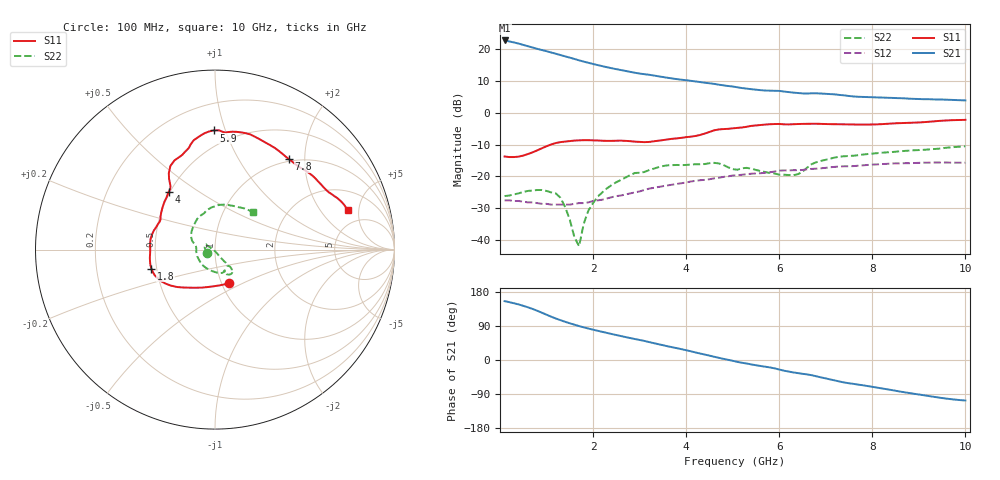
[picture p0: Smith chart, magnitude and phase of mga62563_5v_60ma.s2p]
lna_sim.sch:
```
<Qucs Schematic 0.0.10>
<Properties>
  <View=-571,-167,1072,689,0.652284,0,0>
  <Grid=10,10,1>
  <DataSet=lna_sim.dat>
  <DataDisplay=lna_sim.dpl>
  <OpenDisplay=0>
  <showFrame=0>
  <FrameText0=Title>
  <FrameText1=Drawn By:>
  <FrameText2=Date:>
  <FrameText3=Revision:>
</Properties>
<Symbol>
</Symbol>
<Components>
  <Pac P1 1 50 260 18 -26 0 1 "1" 1 "50 Ohm" 1 "0 dBm" 0 "1 GHz" 0 "26.85" 0>
  <GND * 1 50 320 0 0 0 0>
  <L L3 1 320 180 -26 10 0 0 "4.3nH" 1 "" 0>
  <C C1 1 190 180 -26 17 0 0 "3300 pF" 1 "" 0>
  <Eqn Eqn1 1 160 340 -31 19 0 0 "S11_db=dB(S[1,1])" 1 "SWR_IN=(1+mag(S[1,1]))/(1-mag(S[1,1]))" 1 "SWR_OUT=(1+mag(S[2,2]))/(1-mag(S[2,2]))" 1 "S22_db=dB(S[2,2])" 1 "S12_db=dB(S[1,2])" 1 "S21_db=dB(S[2,1])" 1 "S11_phase=180*angle(S[1,1])/3.14159" 1 "S22_phase=180*angle(S[2,2])/3.14159" 1 "S12_phase=180*angle(S[1,2])/3.14159" 1 "S21_phase=180*angle(S[2,1])/3.14159" 1 "yes" 0>
  <L L4 1 610 250 10 -26 0 1 "180 nH" 1 "" 0>
  <GND * 1 510 260 0 0 0 0>
  <GND * 1 610 340 0 0 0 0>
  <C C2 1 680 180 -26 17 0 0 "100 pF" 1 "" 0>
  <.SP SP1 1 490 390 0 82 0 0 "lin" 1 ".05GHz" 1 "1GHz" 1 "100" 1 "no" 0 "1" 0 "2" 0 "no" 0 "no" 0>
  <SPfile X1 1 510 180 -26 -73 0 0 "/home/matt/usrp-hw/wbx/mga62563_5v_60ma.s2p" 1 "rectangular" 0 "linear" 0 "open" 0 "2" 0>
  <GND * 1 760 340 0 0 0 0>
  <C C3 1 900 260 17 -26 0 1 "1.1 pF" 1 "" 0>
  <Pac P2 1 960 270 18 -26 0 1 "2" 1 "200 Ohm" 1 "0 dBm" 0 "1 GHz" 0 "26.85" 0>
  <GND * 1 960 360 0 0 0 0>
  <R R2 0 760 240 15 -26 0 1 "66.7 Ohm" 1 "26.85" 0 "0.0" 0 "0.0" 0 "26.85" 0 "US" 0>
  <R R1 0 820 180 -26 15 0 0 "0 Ohm" 1 "26.85" 0 "0.0" 0 "0.0" 0 "26.85" 0 "US" 0>
  <GND * 1 780 560 0 0 0 0>
  <Tr Tr1 1 780 450 -29 38 0 0 ".5" 1>
</Components>
<Wires>
  <540 180 610 180 "" 0 0 0 "">
  <50 290 50 320 "" 0 0 0 "">
  <350 180 480 180 "" 0 0 0 "">
  <50 180 50 230 "" 0 0 0 "">
  <50 180 160 180 "" 0 0 0 "">
  <220 180 290 180 "" 0 0 0 "">
  <610 180 610 220 "" 0 0 0 "">
  <510 210 510 260 "" 0 0 0 "">
  <610 280 610 340 "" 0 0 0 "">
  <610 180 650 180 "" 0 0 0 "">
  <710 180 720 180 "" 0 0 0 "">
  <760 180 790 180 "" 0 0 0 "">
  <760 180 760 210 "" 0 0 0 "">
  <760 270 760 340 "" 0 0 0 "">
  <960 180 960 220 "" 0 0 0 "">
  <850 180 870 180 "" 0 0 0 "">
  <960 300 960 310 "" 0 0 0 "">
  <960 220 960 240 "" 0 0 0 "">
  <900 220 960 220 "" 0 0 0 "">
  <900 290 900 310 "" 0 0 0 "">
  <960 310 960 360 "" 0 0 0 "">
  <900 310 960 310 "" 0 0 0 "">
  <900 220 900 230 "" 0 0 0 "">
  <720 180 760 180 "" 0 0 0 "">
  <720 180 720 420 "" 0 0 0 "">
  <720 420 750 420 "" 0 0 0 "">
  <810 420 870 420 "" 0 0 0 "">
  <870 180 960 180 "" 0 0 0 "">
  <870 180 870 420 "" 0 0 0 "">
  <720 560 780 560 "" 0 0 0 "">
  <720 480 720 560 "" 0 0 0 "">
  <720 480 750 480 "" 0 0 0 "">
  <810 480 830 480 "" 0 0 0 "">
  <830 480 830 560 "" 0 0 0 "">
  <780 560 830 560 "" 0 0 0 "">
</Wires>
<Diagrams>
  <Rect -451 553 467 340 1 #c0c0c0 1 00 1 -1 0.2 1 1 -1 0.5 1 1 -1 0.5 1 315 0 225 "" "" "">
	<"SWR_IN" #0000ff 0 3 0 0 0>
	<"SWR_OUT" #ff0000 0 3 0 0 0>
  </Rect>
  <Rect -454 191 479 281 1 #c0c0c0 1 00 1 5e+07 1e+08 1e+09 1 -20.7006 2 -9.16446 1 -1 0.5 1 315 0 225 "" "" "">
	<"S11_db" #0000ff 0 3 0 0 0>
	<"S22_db" #ff0000 0 3 0 0 0>
  </Rect>
  <Smith 660 110 200 200 1 #c0c0c0 1 00 1 0 1 1 1 0 4 1 1 0 1 1 315 0 225 "" "" "">
	<"S[1,1]" #0000ff 0 3 0 0 0>
	<"S[2,2]" #ff0000 0 3 0 0 0>
  </Smith>
  <Rect 72 117 487 234 1 #c0c0c0 1 00 1 -1 0.5 1 1 -1 0.5 1 1 -1 0.5 1 315 0 225 "" "" "">
	<"S21_db" #0000ff 0 3 0 0 0>
  </Rect>
</Diagrams>
<Paintings>
</Paintings>
```
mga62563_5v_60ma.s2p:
!MGA-62563
!s-parameters at Vd=5V, Id=60mA. Last updated 24/09/03 AR.
# GHZ S MA R 50
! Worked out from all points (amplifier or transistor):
!   100 points, 100 MHz to 10 GHz, reference 50 ohm
!   highest |S21| = 22.7 dB at 100 MHz (marker M1)
!   |S21| within 3 dB of that: start of sweep to 899.2 MHz
!   unconditionally stable (mu >= 1): start of sweep to 9.453 GHz
!   at 1.7 GHz: K = 1.83, MAG = 17.2 dB, |S12| = -28.4 dB
!   at 5.1 GHz: K = 1.33, MAG = 10.4 dB, |S12| = -19.7 dB
!   at 10 GHz: K = 0.97, MSG = 9.8 dB, |S12| = -15.7 dB
!   S11 on the Smith chart (normalised r, x): 100 MHz: 1.09, -0.43; 1.8 GHz: 0.47, -0.12; 4 GHz: 0.49, +0.38; 5.9 GHz: 0.38, +0.91; 7.8 GHz: 0.96, +1.68; 10 GHz: 3.45, +3.79
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0.1  0.205 -67.1  13.65 155.3  0.042 1.9  0.049 -153.8
1  0.297 -135.4  9.26 119.6  0.037 3.9  0.059 149.1
1.4  0.352 -151.4  7.68 100.9  0.036 10.7  0.033 154.3
1.7  0.368 -160.1  6.65 89.5  0.038 16.7  0.008 -95.9
1.8  0.37 -163.3  6.35 86.2  0.038 18.5  0.018 -66.4
2.7  0.361 166.7  4.53 60.5  0.052 27.2  0.096 -50.4
4  0.413 128.5  3.24 25.8  0.08 19.7  0.151 -51.7
5.1  0.577 105.7  2.51 -4.9  0.104 5.6  0.127 -64.8
5.9  0.664 90.7  2.21 -22.0  0.119 -4.4  0.111 -131.7
7.8  0.651 50.9  1.77 -66.8  0.149 -33.9  0.22 103.3
10  0.772 16.7  1.56 -106.8  0.164 -68.2  0.297 44.8
